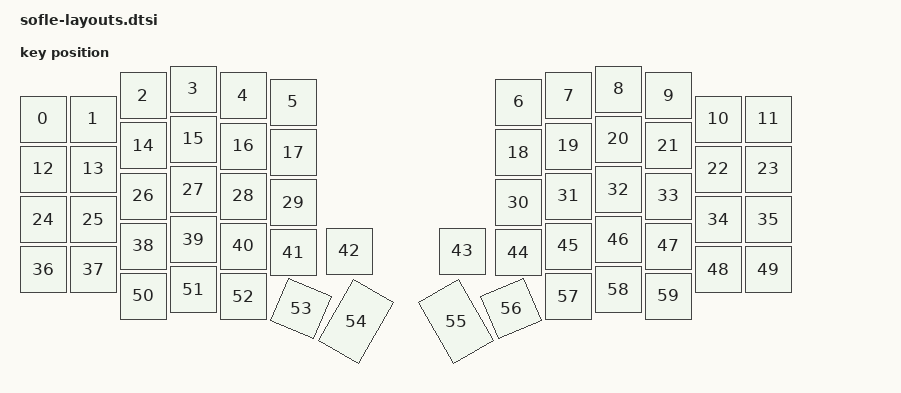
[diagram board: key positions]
#include <physical_layouts.dtsi>

/ {
    layout_0: layout_0 {
        compatible = "zmk,physical-layout";
        display-name = "LAYOUT";

        kscan = <&kscan0>;
        transform = <&default_transform>;

        keys  //                     w   h    x    y     rot    rx    ry
            = <&key_physical_attrs 100 100    0   60       0     0     0>
            , <&key_physical_attrs 100 100  100   60       0     0     0>
            , <&key_physical_attrs 100 100  200   13       0     0     0>
            , <&key_physical_attrs 100 100  300    0       0     0     0>
            , <&key_physical_attrs 100 100  400   13       0     0     0>
            , <&key_physical_attrs 100 100  500   26       0     0     0>
            , <&key_physical_attrs 100 100  951   26       0     0     0>
            , <&key_physical_attrs 100 100 1051   13       0     0     0>
            , <&key_physical_attrs 100 100 1151    0       0     0     0>
            , <&key_physical_attrs 100 100 1251   13       0     0     0>
            , <&key_physical_attrs 100 100 1351   60       0     0     0>
            , <&key_physical_attrs 100 100 1451   60       0     0     0>
            , <&key_physical_attrs 100 100    0  160       0     0     0>
            , <&key_physical_attrs 100 100  100  160       0     0     0>
            , <&key_physical_attrs 100 100  200  113       0     0     0>
            , <&key_physical_attrs 100 100  300  100       0     0     0>
            , <&key_physical_attrs 100 100  400  114       0     0     0>
            , <&key_physical_attrs 100 100  500  127       0     0     0>
            , <&key_physical_attrs 100 100  951  127       0     0     0>
            , <&key_physical_attrs 100 100 1051  114       0     0     0>
            , <&key_physical_attrs 100 100 1151  100       0     0     0>
            , <&key_physical_attrs 100 100 1251  113       0     0     0>
            , <&key_physical_attrs 100 100 1351  160       0     0     0>
            , <&key_physical_attrs 100 100 1451  160       0     0     0>
            , <&key_physical_attrs 100 100    0  261       0     0     0>
            , <&key_physical_attrs 100 100  100  261       0     0     0>
            , <&key_physical_attrs 100 100  200  214       0     0     0>
            , <&key_physical_attrs 100 100  300  201       0     0     0>
            , <&key_physical_attrs 100 100  400  214       0     0     0>
            , <&key_physical_attrs 100 100  500  227       0     0     0>
            , <&key_physical_attrs 100 100  951  227       0     0     0>
            , <&key_physical_attrs 100 100 1051  214       0     0     0>
            , <&key_physical_attrs 100 100 1151  201       0     0     0>
            , <&key_physical_attrs 100 100 1251  214       0     0     0>
            , <&key_physical_attrs 100 100 1351  261       0     0     0>
            , <&key_physical_attrs 100 100 1451  261       0     0     0>
            , <&key_physical_attrs 100 100    0  361       0     0     0>
            , <&key_physical_attrs 100 100  100  361       0     0     0>
            , <&key_physical_attrs 100 100  200  314       0     0     0>
            , <&key_physical_attrs 100 100  300  301       0     0     0>
            , <&key_physical_attrs 100 100  400  314       0     0     0>
            , <&key_physical_attrs 100 100  500  327       0     0     0>
            , <&key_physical_attrs 100 100  612  324       0     0     0>
            , <&key_physical_attrs 100 100  839  324       0     0     0>
            , <&key_physical_attrs 100 100  951  327       0     0     0>
            , <&key_physical_attrs 100 100 1051  314       0     0     0>
            , <&key_physical_attrs 100 100 1151  301       0     0     0>
            , <&key_physical_attrs 100 100 1251  314       0     0     0>
            , <&key_physical_attrs 100 100 1351  361       0     0     0>
            , <&key_physical_attrs 100 100 1451  361       0     0     0>
            , <&key_physical_attrs 100 100  200  414       0     0     0>
            , <&key_physical_attrs 100 100  300  401       0     0     0>
            , <&key_physical_attrs 100 100  400  415       0     0     0>
            , <&key_physical_attrs 100 100  516  439    2300   566   489>
            , <&key_physical_attrs 100 150  626  440    3000   676   515>
            , <&key_physical_attrs 100 150  826  440 (-3000)   876   515>
            , <&key_physical_attrs 100 100  936  439 (-2300)   986   489>
            , <&key_physical_attrs 100 100 1051  415       0     0     0>
            , <&key_physical_attrs 100 100 1151  401       0     0     0>
            , <&key_physical_attrs 100 100 1251  414       0     0     0>
            ;
    };
};
